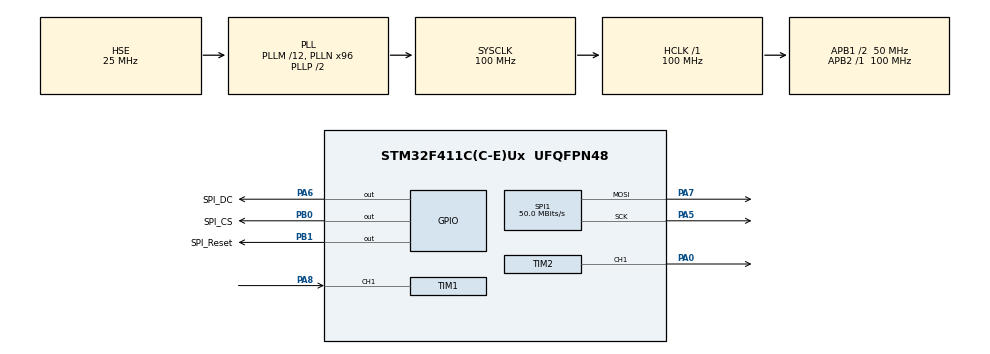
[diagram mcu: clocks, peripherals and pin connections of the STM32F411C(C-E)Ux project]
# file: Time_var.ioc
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Dma.Request0=SPI1_TX
Dma.SPI1_TX.0.Direction=DMA_MEMORY_TO_PERIPH
Dma.SPI1_TX.0.FIFOMode=DMA_FIFOMODE_DISABLE
Dma.SPI1_TX.0.Instance=DMA2_Stream2
Dma.SPI1_TX.0.MemDataAlignment=DMA_MDATAALIGN_BYTE
Dma.SPI1_TX.0.MemInc=DMA_MINC_ENABLE
Dma.SPI1_TX.0.Mode=DMA_NORMAL
Dma.SPI1_TX.0.PeriphDataAlignment=DMA_PDATAALIGN_BYTE
Dma.SPI1_TX.0.PeriphInc=DMA_PINC_DISABLE
Dma.SPI1_TX.0.Priority=DMA_PRIORITY_LOW
Mcu.Family=STM32F4
Mcu.Name=STM32F411C(C-E)Ux
Mcu.Package=UFQFPN48
NVIC.DMA2_Stream2_IRQn=true\:0\:0\:false\:false\:true\:false\:true\:true
NVIC.PriorityGroup=NVIC_PRIORITYGROUP_4
NVIC.SPI1_IRQn=true\:0\:0\:false\:false\:true\:true\:true\:true
NVIC.TIM1_CC_IRQn=true\:0\:0\:false\:false\:true\:true\:true\:true
PA0-WKUP.Signal=S_TIM2_CH1_ETR
PA13.Mode=Serial_Wire
PA13.Signal=SYS_JTMS-SWDIO
PA14.Mode=Serial_Wire
PA14.Signal=SYS_JTCK-SWCLK
PA5.Mode=TX_Only_Simplex_Unidirect_Master
PA5.Signal=SPI1_SCK
PA6.GPIO_Label=SPI_DC
PA6.Signal=GPIO_Output
PA7.Mode=TX_Only_Simplex_Unidirect_Master
PA7.Signal=SPI1_MOSI
PA8.Signal=S_TIM1_CH1
PB0.GPIO_Label=SPI_CS
PB0.Signal=GPIO_Output
PB1.GPIO_Label=SPI_Reset
PB1.Signal=GPIO_Output
PH0\ -\ OSC_IN.Mode=HSE-External-Oscillator
PH0\ -\ OSC_IN.Signal=RCC_OSC_IN
PH1\ -\ OSC_OUT.Mode=HSE-External-Oscillator
PH1\ -\ OSC_OUT.Signal=RCC_OSC_OUT
ProjectManager.HeapSize=0x200
ProjectManager.StackSize=0x400
ProjectManager.TargetToolchain=EWARM V8
RCC.48MHZClocksFreq_Value=50000000
RCC.AHBFreq_Value=100000000
RCC.APB1CLKDivider=RCC_HCLK_DIV2
RCC.APB1Freq_Value=50000000
RCC.APB1TimFreq_Value=100000000
RCC.APB2Freq_Value=100000000
RCC.APB2TimFreq_Value=100000000
RCC.CortexFreq_Value=100000000
RCC.HCLKFreq_Value=100000000
RCC.HSE_VALUE=25000000
RCC.HSI_VALUE=16000000
RCC.LSE_VALUE=32768
RCC.PLLM=12
RCC.PLLN=96
RCC.PLLSourceVirtual=RCC_PLLSOURCE_HSE
RCC.SYSCLKFreq_VALUE=100000000
RCC.SYSCLKSource=RCC_SYSCLKSOURCE_PLLCLK
RCC.VCOOutputFreq_Value=200000000
SH.S_TIM1_CH1.0=TIM1_CH1,Input_Capture1_from_TI1
SH.S_TIM2_CH1_ETR.0=TIM2_CH1,PWM Generation1 CH1
SPI1.CalculateBaudRate=50.0 MBits/s
SPI1.Direction=SPI_DIRECTION_2LINES
SPI1.Mode=SPI_MODE_MASTER
SPI1.VirtualType=VM_MASTER
TIM1.Channel-Input_Capture1_from_TI1=TIM_CHANNEL_1
TIM1.Period=49999
TIM1.Prescaler=99
TIM2.Channel-PWM\ Generation1\ CH1=TIM_CHANNEL_1
TIM2.Period=65535
TIM2.Prescaler=0
board=custom

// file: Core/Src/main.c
/* USER CODE BEGIN Header */
/**
  ******************************************************************************
  * @file           : main.c
  * @brief          : Main program body
  ******************************************************************************
  * @attention
  *
  * Copyright (c) 2023 STMicroelectronics.
  * All rights reserved.
  *
  * This software is licensed under terms that can be found in the LICENSE file
  * in the root directory of this software component.
  * If no LICENSE file comes with this software, it is provided AS-IS.
  *
  ******************************************************************************
  */
/* USER CODE END Header */
#include "main.h"

/* USER CODE BEGIN Includes */
#include "ssd1306.h"
#include "filter_sma.h"
#include "math.h"
/* USER CODE END Includes */

/* USER CODE BEGIN PD */
#define    DWT_CYCCNT    *(volatile uint32_t*)0xE0001004
#define    DWT_CONTROL   *(volatile uint32_t*)0xE0001000
#define    SCB_DEMCR     *(volatile uint32_t*)0xE000EDFC
/* USER CODE END PD */

SPI_HandleTypeDef hspi1;
DMA_HandleTypeDef hdma_spi1_tx;

TIM_HandleTypeDef htim1;
TIM_HandleTypeDef htim2;

/* USER CODE BEGIN PV */
extern int RPM;
char transmit_buffer[] = {0};
extern uint32_t micros;
unsigned char flag = 0;
/* USER CODE END PV */

void SystemClock_Config(void);
static void MX_GPIO_Init(void);
static void MX_DMA_Init(void);
static void MX_TIM1_Init(void);
static void MX_SPI1_Init(void);
static void MX_TIM2_Init(void);

/* USER CODE BEGIN 0 */
uint32_t rounder (float integer)
{
  uint32_t retval = 0;
  uint32_t div = (float)(integer - (int)integer)*10;
  if (div % 5 == 0)
  {
    retval = round(integer);
  }
  else
  {
    integer +=0.5;
    retval = round(integer);
  }
  return retval;
}

void DWT_Init()
{
  SCB_DEMCR |= CoreDebug_DEMCR_TRCENA_Msk;// ????????? ???????????? DWT
  DWT_CONTROL|= DWT_CTRL_CYCCNTENA_Msk; // ???????? ???????
  DWT_CYCCNT = 0;// ???????? ???????
}
/* USER CODE END 0 */

int main(void)
{

  /* MCU Configuration--------------------------------------------------------*/

  /* Reset of all peripherals, Initializes the Flash interface and the Systick. */
  HAL_Init();

  /* Configure the system clock */
  SystemClock_Config();

  /* Initialize all configured peripherals */
  MX_GPIO_Init();
  MX_DMA_Init();
  MX_TIM1_Init();
  MX_SPI1_Init();
  MX_TIM2_Init();
  /* USER CODE BEGIN 2 */
  DWT_Init();
  HAL_TIM_IC_Start_IT(&htim1, TIM_CHANNEL_1);
  //HAL_TIM_Base_Start_IT(&htim2);
  //HAL_TIM_PWM_Start(&htim2, TIM_CHANNEL_1);
  SSD1306_Init();
    SSD1306_DrawRectangle(4, 5, 5, 4, SSD1306_PX_CLR_WHITE);
    SSD1306_UpdateScreen();
    HAL_Delay(2000);
    TIM2->ARR = 99;
    TIM2->PSC = 19999;
    TIM2->CCR1 = 50;
    //HAL_TIM_PWM_Start(&htim2, TIM_CHANNEL_1);
  /* USER CODE END 2 */

  /* Infinite loop */
  /* USER CODE BEGIN WHILE */
  while (1)
  {
    uint32_t rotation = MedianFilter(RPM);
    //////////////////////TEST CODE AREA/////////////////////////////////////
    uint32_t divider_one = rounder((float)100000000/(rotation/60));
    TIM2->PSC = (divider_one/100)+1;
    if (RPM == 0)
    {
      HAL_TIM_PWM_Stop(&htim2, TIM_CHANNEL_1);
      flag = 0;
    }
    else if (RPM > 60)
    {
      HAL_TIM_PWM_Start(&htim2, TIM_CHANNEL_1);
    }
    ///////////////END OF TEST CODE AREA/////////////////////////////////////
    if (HAL_GetTick() - micros >= 1000)
    {
      RPM = 0;
      micros = 0;
    }
    SSD1306_Clear();
    sprintf((char*)transmit_buffer, "%d", rotation);
    SSD1306_GotoXY(0,5);
    SSD1306_Puts((char*)transmit_buffer, &Font_16x26, SSD1306_PX_CLR_WHITE);
    SSD1306_UpdateScreen();
    /* USER CODE END WHILE */

  }
}

void SystemClock_Config(void)
{
  RCC_OscInitTypeDef RCC_OscInitStruct = {0};
  RCC_ClkInitTypeDef RCC_ClkInitStruct = {0};

  /** Configure the main internal regulator output voltage
  */
  __HAL_RCC_PWR_CLK_ENABLE();
  __HAL_PWR_VOLTAGESCALING_CONFIG(PWR_REGULATOR_VOLTAGE_SCALE1);

  /** Initializes the RCC Oscillators according to the specified parameters
  * in the RCC_OscInitTypeDef structure.
  */
  RCC_OscInitStruct.OscillatorType = RCC_OSCILLATORTYPE_HSE;
  RCC_OscInitStruct.HSEState = RCC_HSE_ON;
  RCC_OscInitStruct.PLL.PLLState = RCC_PLL_ON;
  RCC_OscInitStruct.PLL.PLLSource = RCC_PLLSOURCE_HSE;
  RCC_OscInitStruct.PLL.PLLM = 12;
  RCC_OscInitStruct.PLL.PLLN = 96;
  RCC_OscInitStruct.PLL.PLLP = RCC_PLLP_DIV2;
  RCC_OscInitStruct.PLL.PLLQ = 4;
  if (HAL_RCC_OscConfig(&RCC_OscInitStruct) != HAL_OK)
  {
    Error_Handler();
  }

  /** Initializes the CPU, AHB and APB buses clocks
  */
  RCC_ClkInitStruct.ClockType = RCC_CLOCKTYPE_HCLK|RCC_CLOCKTYPE_SYSCLK
                              |RCC_CLOCKTYPE_PCLK1|RCC_CLOCKTYPE_PCLK2;
  RCC_ClkInitStruct.SYSCLKSource = RCC_SYSCLKSOURCE_PLLCLK;
  RCC_ClkInitStruct.AHBCLKDivider = RCC_SYSCLK_DIV1;
  RCC_ClkInitStruct.APB1CLKDivider = RCC_HCLK_DIV2;
  RCC_ClkInitStruct.APB2CLKDivider = RCC_HCLK_DIV1;

  if (HAL_RCC_ClockConfig(&RCC_ClkInitStruct, FLASH_LATENCY_3) != HAL_OK)
  {
    Error_Handler();
  }
}

static void MX_SPI1_Init(void)
{

  /* SPI1 parameter configuration*/
  hspi1.Instance = SPI1;
  hspi1.Init.Mode = SPI_MODE_MASTER;
  hspi1.Init.Direction = SPI_DIRECTION_2LINES;
  hspi1.Init.DataSize = SPI_DATASIZE_8BIT;
  hspi1.Init.CLKPolarity = SPI_POLARITY_LOW;
  hspi1.Init.CLKPhase = SPI_PHASE_1EDGE;
  hspi1.Init.NSS = SPI_NSS_SOFT;
  hspi1.Init.BaudRatePrescaler = SPI_BAUDRATEPRESCALER_2;
  hspi1.Init.FirstBit = SPI_FIRSTBIT_MSB;
  hspi1.Init.TIMode = SPI_TIMODE_DISABLE;
  hspi1.Init.CRCCalculation = SPI_CRCCALCULATION_DISABLE;
  hspi1.Init.CRCPolynomial = 10;
  if (HAL_SPI_Init(&hspi1) != HAL_OK)
  {
    Error_Handler();
  }

}

static void MX_TIM1_Init(void)
{

  TIM_MasterConfigTypeDef sMasterConfig = {0};
  TIM_IC_InitTypeDef sConfigIC = {0};

  htim1.Instance = TIM1;
  htim1.Init.Prescaler = 99;
  htim1.Init.CounterMode = TIM_COUNTERMODE_UP;
  htim1.Init.Period = 49999;
  htim1.Init.ClockDivision = TIM_CLOCKDIVISION_DIV1;
  htim1.Init.RepetitionCounter = 0;
  htim1.Init.AutoReloadPreload = TIM_AUTORELOAD_PRELOAD_DISABLE;
  if (HAL_TIM_IC_Init(&htim1) != HAL_OK)
  {
    Error_Handler();
  }
  sMasterConfig.MasterOutputTrigger = TIM_TRGO_RESET;
  sMasterConfig.MasterSlaveMode = TIM_MASTERSLAVEMODE_DISABLE;
  if (HAL_TIMEx_MasterConfigSynchronization(&htim1, &sMasterConfig) != HAL_OK)
  {
    Error_Handler();
  }
  sConfigIC.ICPolarity = TIM_INPUTCHANNELPOLARITY_RISING;
  sConfigIC.ICSelection = TIM_ICSELECTION_DIRECTTI;
  sConfigIC.ICPrescaler = TIM_ICPSC_DIV1;
  sConfigIC.ICFilter = 0;
  if (HAL_TIM_IC_ConfigChannel(&htim1, &sConfigIC, TIM_CHANNEL_1) != HAL_OK)
  {
    Error_Handler();
  }

}

static void MX_TIM2_Init(void)
{

  TIM_MasterConfigTypeDef sMasterConfig = {0};
  TIM_OC_InitTypeDef sConfigOC = {0};

  htim2.Instance = TIM2;
  htim2.Init.Prescaler = 0;
  htim2.Init.CounterMode = TIM_COUNTERMODE_UP;
  htim2.Init.Period = 65535;
  htim2.Init.ClockDivision = TIM_CLOCKDIVISION_DIV1;
  htim2.Init.AutoReloadPreload = TIM_AUTORELOAD_PRELOAD_DISABLE;
  if (HAL_TIM_PWM_Init(&htim2) != HAL_OK)
  {
    Error_Handler();
  }
  sMasterConfig.MasterOutputTrigger = TIM_TRGO_RESET;
  sMasterConfig.MasterSlaveMode = TIM_MASTERSLAVEMODE_DISABLE;
  if (HAL_TIMEx_MasterConfigSynchronization(&htim2, &sMasterConfig) != HAL_OK)
  {
    Error_Handler();
  }
  sConfigOC.OCMode = TIM_OCMODE_PWM1;
  sConfigOC.Pulse = 0;
  sConfigOC.OCPolarity = TIM_OCPOLARITY_HIGH;
  sConfigOC.OCFastMode = TIM_OCFAST_DISABLE;
  if (HAL_TIM_PWM_ConfigChannel(&htim2, &sConfigOC, TIM_CHANNEL_1) != HAL_OK)
  {
    Error_Handler();
  }
  HAL_TIM_MspPostInit(&htim2);

}

static void MX_DMA_Init(void)
{

  /* DMA controller clock enable */
  __HAL_RCC_DMA2_CLK_ENABLE();

  /* DMA interrupt init */
  /* DMA2_Stream2_IRQn interrupt configuration */
  HAL_NVIC_SetPriority(DMA2_Stream2_IRQn, 0, 0);
  HAL_NVIC_EnableIRQ(DMA2_Stream2_IRQn);

}

static void MX_GPIO_Init(void)
{
  GPIO_InitTypeDef GPIO_InitStruct = {0};

  /* GPIO Ports Clock Enable */
  __HAL_RCC_GPIOH_CLK_ENABLE();
  __HAL_RCC_GPIOA_CLK_ENABLE();
  __HAL_RCC_GPIOB_CLK_ENABLE();

  /*Configure GPIO pin Output Level */
  HAL_GPIO_WritePin(SPI_DC_GPIO_Port, SPI_DC_Pin, GPIO_PIN_RESET);

  /*Configure GPIO pin Output Level */
  HAL_GPIO_WritePin(GPIOB, SPI_CS_Pin|SPI_Reset_Pin, GPIO_PIN_RESET);

  /*Configure GPIO pin : SPI_DC_Pin */
  GPIO_InitStruct.Pin = SPI_DC_Pin;
  GPIO_InitStruct.Mode = GPIO_MODE_OUTPUT_PP;
  GPIO_InitStruct.Pull = GPIO_NOPULL;
  GPIO_InitStruct.Speed = GPIO_SPEED_FREQ_LOW;
  HAL_GPIO_Init(SPI_DC_GPIO_Port, &GPIO_InitStruct);

  /*Configure GPIO pins : SPI_CS_Pin SPI_Reset_Pin */
  GPIO_InitStruct.Pin = SPI_CS_Pin|SPI_Reset_Pin;
  GPIO_InitStruct.Mode = GPIO_MODE_OUTPUT_PP;
  GPIO_InitStruct.Pull = GPIO_NOPULL;
  GPIO_InitStruct.Speed = GPIO_SPEED_FREQ_LOW;
  HAL_GPIO_Init(GPIOB, &GPIO_InitStruct);

}

void Error_Handler(void)
{
  __disable_irq();
  while (1)
  {
  }
}
